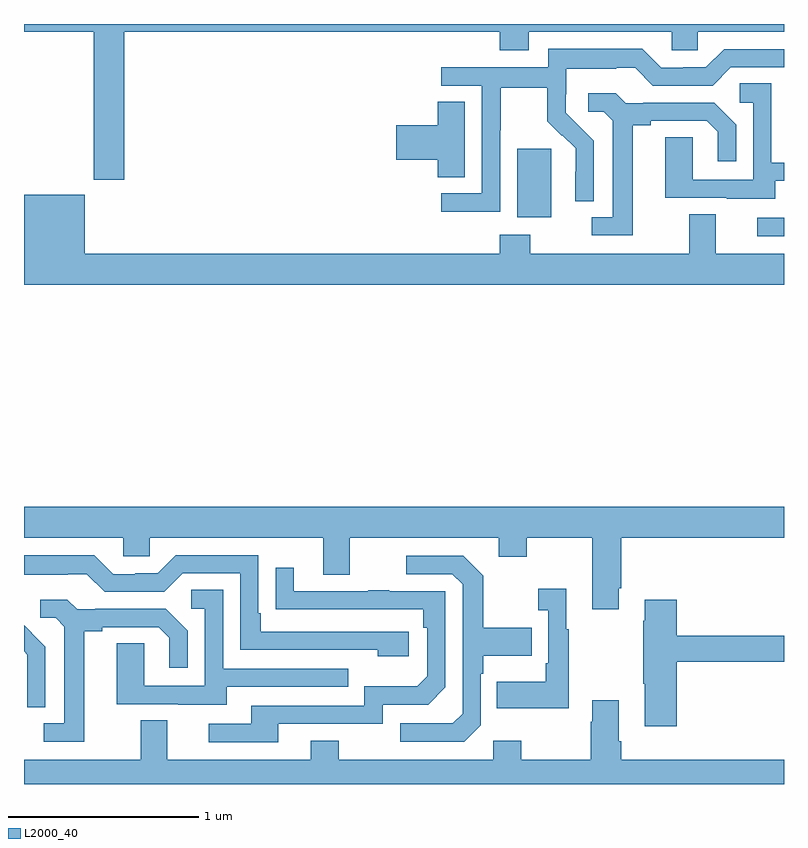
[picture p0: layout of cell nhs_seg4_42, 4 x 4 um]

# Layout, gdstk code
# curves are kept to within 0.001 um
import gdstk
lib = gdstk.Library(unit=1e-6, precision=1e-09)
def R(c, l, rs):  # rectangles x0, y0, x1, y1
    for r in rs: c.add(gdstk.rectangle(r[:2], r[2:], *l))
def P(c, l, *ps):  # polygons
    for p in ps: c.add(gdstk.Polygon(p, *l))
L2000_40 = (2000, 40)

nhs_seg4_42 = lib.new_cell('nhs_seg4_42')
R(nhs_seg4_42, L2000_40, [(116.859,755.784,117,755.88), (115.595,755.882,115.774,756.243)])
P(nhs_seg4_42, L2000_40, [(113.528,756.86),(115.505,756.86),(115.505,756.761),(115.657,756.761),(115.657,756.86),(116.409,756.86),(116.409,756.762),(116.547,756.762),(116.547,756.86),(117,756.86),(117,756.9),(113,756.9),(113,756.86),(113.368,756.86),(113.368,756.081),(113.528,756.081)],
  [(115.506,756.34),(115.509,756.34),(115.509,756.564),(115.753,756.564),(115.753,756.389),(115.83,756.312),(115.833,756.315),(115.904,756.245),(115.904,756.122),(115.902,756.122),(115.902,755.968),(115.998,755.968),(115.998,756.286),(115.852,756.434),(115.852,756.531),(115.854,756.531),(115.854,756.665),(116.117,756.665),(116.117,756.669),(116.217,756.669),(116.31,756.576),(116.625,756.576),(116.721,756.672),(117,756.672),(117,756.768),(116.685,756.768),(116.589,756.672),(116.471,756.672),(116.471,756.669),(116.355,756.669),(116.255,756.769),(115.758,756.769),(115.758,756.672),(115.197,756.672),(115.197,756.576),(115.41,756.576),(115.41,756.009),(115.197,756.009),(115.197,755.911),(115.506,755.911)],
  [(116.953,756.075),(117,756.075),(117,756.171),(116.934,756.171),(116.934,756.587),(116.766,756.587),(116.766,756.486),(116.838,756.486),(116.838,756.081),(116.52,756.081),(116.52,756.305),(116.375,756.305),(116.375,755.985),(116.699,755.985),(116.699,755.981),(116.953,755.981)],
  [(116.203,756.368),(116.299,756.368),(116.299,756.39),(116.594,756.39),(116.651,756.333),(116.651,756.177),(116.748,756.177),(116.748,756.37),(116.632,756.486),(116.26,756.486),(116.26,756.483),(116.166,756.483),(116.114,756.535),(115.971,756.535),(115.971,756.438),(116.052,756.438),(116.099,756.391),(116.099,755.883),(115.989,755.883),(115.989,755.787),(116.203,755.787)],
  [(115.321,756.491),(115.178,756.491),(115.178,756.368),(114.96,756.368),(114.96,756.185),(115.178,756.185),(115.178,756.094),(115.321,756.094)],
  [(117,755.692),(116.641,755.692),(116.641,755.9),(116.501,755.9),(116.501,755.692),(115.665,755.692),(115.665,755.791),(115.505,755.791),(115.505,755.692),(113.32,755.692),(113.32,756.001),(113,756.001),(113,755.528),(117,755.528)],
  [(116.131,753.931),(116.144,753.931),(116.144,754.196),(117,754.196),(117,754.36),(113,754.36),(113,754.196),(113.523,754.196),(113.523,754.098),(113.661,754.098),(113.661,754.196),(114.575,754.196),(114.575,754.002),(114.715,754.002),(114.715,754.196),(115.499,754.196),(115.499,754.097),(115.647,754.097),(115.647,754.196),(115.991,754.196),(115.991,753.819),(116.131,753.819)],
  [(115.024,753.702),(114.247,753.702),(114.247,753.799),(114.234,753.799),(114.234,754.104),(113.799,754.104),(113.703,754.008),(113.585,754.008),(113.585,754.005),(113.469,754.005),(113.369,754.105),(113,754.105),(113,754.001),(113.231,754.001),(113.231,754.005),(113.331,754.005),(113.424,753.912),(113.739,753.912),(113.835,754.008),(114.138,754.008),(114.138,753.606),(114.863,753.606),(114.863,753.572),(115.024,753.572)],
  [(115.404,753.21),(115.404,753.479),(115.417,753.479),(115.417,753.575),(115.673,753.575),(115.673,753.723),(115.417,753.723),(115.417,753.995),(115.311,754.101),(115.011,754.101),(115.011,754.005),(115.254,754.005),(115.308,753.951),(115.308,753.27),(115.257,753.219),(114.981,753.219),(114.981,753.123),(115.317,753.123)],
  [(114.337,753.216),(114.888,753.216),(114.888,753.318),(115.128,753.318),(115.218,753.408),(115.218,753.915),(114.923,753.915),(114.923,753.92),(114.811,753.92),(114.811,753.915),(114.421,753.915),(114.421,754.039),(114.325,754.039),(114.325,753.82),(115.102,753.819),(115.102,753.722),(115.122,753.722),(115.122,753.468),(115.069,753.415),(114.792,753.415),(114.792,753.312),(114.197,753.312),(114.197,753.216),(113.973,753.216),(113.973,753.12),(114.337,753.12)],
  [(115.867,753.715),(115.855,753.715),(115.855,753.928),(115.707,753.928),(115.707,753.815),(115.758,753.815),(115.758,753.535),(115.746,753.535),(115.746,753.439),(115.489,753.439),(115.489,753.299),(115.867,753.299)],
  [(114.067,753.411),(114.707,753.411),(114.707,753.507),(114.048,753.507),(114.048,753.923),(113.88,753.923),(113.88,753.822),(113.952,753.822),(113.952,753.417),(113.634,753.417),(113.634,753.641),(113.489,753.641),(113.489,753.321),(113.813,753.321),(113.813,753.317),(114.067,753.317)],
  [(116.435,753.544),(117,753.544),(117,753.68),(116.435,753.68),(116.435,753.871),(116.267,753.871),(116.267,753.758),(116.26,753.758),(116.26,753.427),(116.267,753.427),(116.267,753.204),(116.435,753.204)],
  [(113.317,753.704),(113.413,753.704),(113.413,753.726),(113.708,753.726),(113.765,753.669),(113.765,753.513),(113.862,753.513),(113.862,753.706),(113.746,753.822),(113.374,753.822),(113.374,753.819),(113.28,753.819),(113.228,753.871),(113.085,753.871),(113.085,753.774),(113.166,753.774),(113.213,753.727),(113.213,753.219),(113.103,753.219),(113.103,753.123),(113.317,753.123)],
  [(113.112,753.622),(113.039,753.695),(113.04,753.696),(113,753.736),(113,753.599),(113.018,753.581),(113.018,753.458),(113.016,753.458),(113.016,753.304),(113.112,753.304)],
  [(117,753.028),(116.144,753.028),(116.144,753.124),(116.131,753.124),(116.131,753.34),(115.991,753.34),(115.991,753.227),(115.984,753.227),(115.984,753.028),(115.617,753.028),(115.617,753.127),(115.47,753.127),(115.47,753.028),(114.657,753.028),(114.657,753.127),(114.509,753.127),(114.509,753.028),(113.755,753.028),(113.755,753.236),(113.615,753.236),(113.615,753.028),(113,753.028),(113,752.9),(117,752.9)])

lib.write_gds('nhs_seg4_42.gds')
